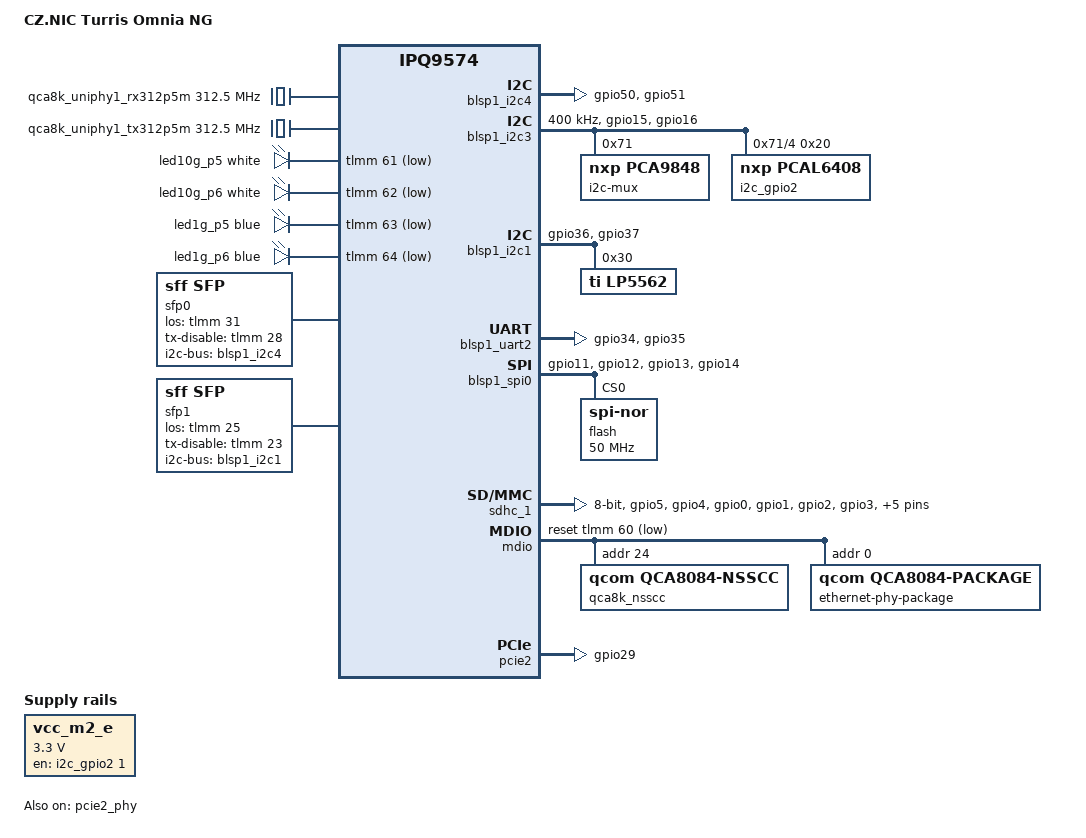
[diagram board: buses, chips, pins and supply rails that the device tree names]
// SPDX-License-Identifier: (GPL-2.0+ OR BSD-3-Clause)

/dts-v1/;

#include "ipq9574.dtsi"

#include <dt-bindings/clock/qcom,ipq-cmn-pll.h>
#include <dt-bindings/gpio/gpio.h>
#include <dt-bindings/leds/common.h>
#include <dt-bindings/clock/qcom,qca8k-nsscc.h>
#include <dt-bindings/net/qcom,qca808x.h>
#include <dt-bindings/reset/qcom,qca8k-nsscc.h>

/ {
	model = "CZ.NIC Turris Omnia NG";
	compatible = "cznic,turris-omnia-ng", "qcom,ipq9574";

	aliases {
		serial0 = &blsp1_uart2;
		ethernet0 = &wan;
		ethernet1 = &lan1;
		ethernet2 = &lan2;
		ethernet3 = &lan3;
		ethernet4 = &wan2;
		ethernet5 = &lan4;
	};

	chosen {
		stdout-path = "serial0:115200n8";
	};

	qca8k_uniphy1_rx312p5m: qca8k-uniphy1-rx312p5m {
		compatible = "fixed-clock";
		clock-frequency = <312500000>;
		#clock-cells = <0>;
	};

	qca8k_uniphy1_tx312p5m: qca8k-uniphy1-tx312p5m {
		compatible = "fixed-clock";
		clock-frequency = <312500000>;
		#clock-cells = <0>;
	};

	vcc_m2_e: regulator-3v3-m2-e {
		compatible = "regulator-fixed";
		regulator-name = "3V3-m2-e";
		regulator-min-microvolt = <3300000>;
		regulator-max-microvolt = <3300000>;
		gpios = <&i2c_gpio2 1 GPIO_ACTIVE_HIGH>;
		enable-active-high;
		regulator-always-on;
		startup-delay-us = <50000>;
	};

	leds {
		compatible = "gpio-leds";
		pinctrl-0 = <&sfp_leds>;
		pinctrl-names = "default";

		led-0 {
			color = <LED_COLOR_ID_WHITE>;
			label = "led10g_p5";
			gpios = <&tlmm 61 GPIO_ACTIVE_LOW>;
		};

		led-2 {
			color = <LED_COLOR_ID_WHITE>;
			label = "led10g_p6";
			gpios = <&tlmm 62 GPIO_ACTIVE_LOW>;
		};

		led-3 {
			color = <LED_COLOR_ID_BLUE>;
			label = "led1g_p5";
			gpios = <&tlmm 63 GPIO_ACTIVE_LOW>;
		};

		led-4 {
			color = <LED_COLOR_ID_BLUE>;
			label = "led1g_p6";
			gpios = <&tlmm 64 GPIO_ACTIVE_LOW>;
		};
	};

	sfp0: sfp-0 {
		compatible = "sff,sfp";
		pinctrl-0 = <&sfp_0_pins>;
		pinctrl-names = "default";
		i2c-bus = <&blsp1_i2c4>;
		los-gpios = <&tlmm 31 GPIO_ACTIVE_HIGH>;
		tx-disable-gpios = <&tlmm 28 GPIO_ACTIVE_HIGH>;
	};

	sfp1: sfp-1 {
		compatible = "sff,sfp";
		pinctrl-0 = <&sfp_1_pins>;
		pinctrl-names = "default";
		i2c-bus = <&blsp1_i2c1>;
		los-gpios = <&tlmm 25 GPIO_ACTIVE_HIGH>;
		tx-disable-gpios = <&tlmm 23 GPIO_ACTIVE_HIGH>;
	};
};

&blsp1_i2c4{
	pinctrl-0 = <&blsp4_i2c_pins>;
	pinctrl-names = "default";
	status = "okay";
};

&blsp1_i2c3 {
	clock-frequency = <400000>;
	pinctrl-0 = <&i2c_3_pins>;
	pinctrl-names = "default";
	status = "okay";

	i2c-mux@71 {
		compatible = "nxp,pca9848";
		reg = <0x71>;
		#address-cells = <1>;
		#size-cells = <0>;

		i2c@4 {
			reg = <0x4>;
			#address-cells = <1>;
			#size-cells = <0>;

			i2c_gpio2: gpio-controller@20 {
				compatible = "nxp,pcal6408";
				reg = <0x20>;
				gpio-controller;
				#gpio-cells = <2>;
				gpio-line-names = "EN_PWR_SFP", "EN_PWR_M2-E",
						  "EN_PWR_M2-B", "EN_PWR_M2-M",
						  "PG_SFP", "PG_M2-E",
						  "PG_M2-B", "PG_M2-M";
			};
		};
	};
};

&blsp1_i2c1 {
	pinctrl-0 = <&blsp1_i2c1_pins>;
	pinctrl-names = "default";
	status = "okay";

	lp5562@30 {
		#address-cells = <1>;
		#size-cells = <0>;
		compatible = "ti,lp5562";
		reg = <0x30>;
		clock-mode = /bits/8 <2>;

		led@0 {
			reg = <0>;
			chan-name = "red";
			led-cur = /bits/ 8 <0x20>;
			max-cur = /bits/ 8 <0x60>;
			color = <LED_COLOR_ID_RED>;
		};

		led@1 {
			reg = <1>;
			chan-name = "green";
			led-cur = /bits/ 8 <0x20>;
			max-cur = /bits/ 8 <0x60>;
			color = <LED_COLOR_ID_GREEN>;
		};

		led@2 {
			reg = <2>;
			chan-name = "blue";
			led-cur = /bits/ 8 <0x20>;
			max-cur = /bits/ 8 <0x60>;
			color = <LED_COLOR_ID_BLUE>;
		};

		led@3 {
			reg = <3>;
			chan-name = "white";
			led-cur = /bits/ 8 <0x20>;
			max-cur = /bits/ 8 <0x60>;
			color = <LED_COLOR_ID_WHITE>;
		};
	};
};

&blsp1_uart2 {
	pinctrl-0 = <&blsp1_uart2_pins>;
	pinctrl-names = "default";
	status = "okay";
};

&blsp1_spi0 {
	pinctrl-0 = <&spi_0_pins>;
	pinctrl-names = "default";
	status = "okay";

	flash@0 {
		compatible = "jedec,spi-nor";
		reg = <0>;
		spi-max-frequency = <50000000>;

		partitions {
			compatible = "qcom,smem-part";
		};
	};
};

&sdhc_1 {
	bus-width = <8>;
	max-frequency = <384000000>;
	mmc-ddr-1_8v;
	mmc-hs200-1_8v;
	mmc-hs400-1_8v;
	mmc-hs400-enhanced-strobe;
	pinctrl-0 = <&emmc_pins>;
	pinctrl-names = "default";
	status = "okay";
};

&qcom_ppe {
	ethernet-ports {
		#address-cells = <1>;
		#size-cells = <0>;

		wan: port@1 {
			reg = <1>;
			phy-mode = "10g-qxgmii";
			label = "wan";
			phy-handle = <&phy0>;
			pcs-handle = <&pcs0_ch0>;
			clocks = <&nsscc NSS_CC_PORT1_MAC_CLK>,
				 <&nsscc NSS_CC_PORT1_RX_CLK>,
				 <&nsscc NSS_CC_PORT1_TX_CLK>;
			clock-names = "mac",
				"rx",
				"tx";
			resets = <&nsscc PORT1_MAC_ARES>,
				 <&nsscc PORT1_RX_ARES>,
				 <&nsscc PORT1_TX_ARES>;
			reset-names = "mac",
				"rx",
				"tx";
		};
		lan1: port@2 {
			reg = <2>;
			phy-mode = "10g-qxgmii";
			label = "lan1";
			phy-handle = <&phy1>;
			pcs-handle = <&pcs0_ch1>;
			clocks = <&nsscc NSS_CC_PORT2_MAC_CLK>,
				 <&nsscc NSS_CC_PORT2_RX_CLK>,
				 <&nsscc NSS_CC_PORT2_TX_CLK>;
			clock-names = "mac",
				"rx",
				"tx";
			resets = <&nsscc PORT2_MAC_ARES>,
				 <&nsscc PORT2_RX_ARES>,
				 <&nsscc PORT2_TX_ARES>;
			reset-names = "mac",
				"rx",
				"tx";
		};
		lan2: port@3 {
			reg = <3>;
			phy-mode = "10g-qxgmii";
			label = "lan2";
			phy-handle = <&phy2>;
			pcs-handle = <&pcs0_ch2>;
			clocks = <&nsscc NSS_CC_PORT3_MAC_CLK>,
				 <&nsscc NSS_CC_PORT3_RX_CLK>,
				 <&nsscc NSS_CC_PORT3_TX_CLK>;
			clock-names = "mac",
				"rx",
				"tx";
			resets = <&nsscc PORT3_MAC_ARES>,
				 <&nsscc PORT3_RX_ARES>,
				 <&nsscc PORT3_TX_ARES>;
			reset-names = "mac",
				"rx",
				"tx";
		};
		lan3: port@4 {
			reg = <4>;
			phy-mode = "10g-qxgmii";
			label = "lan3";
			phy-handle = <&phy3>;
			pcs-handle = <&pcs0_ch3>;
			clocks = <&nsscc NSS_CC_PORT4_MAC_CLK>,
				 <&nsscc NSS_CC_PORT4_RX_CLK>,
				 <&nsscc NSS_CC_PORT4_TX_CLK>;
			clock-names = "mac",
				"rx",
				"tx";
			resets = <&nsscc PORT4_MAC_ARES>,
				 <&nsscc PORT4_RX_ARES>,
				 <&nsscc PORT4_TX_ARES>;
			reset-names = "mac",
				"rx",
				"tx";
		};

		wan2: port@5 {
			reg = <5>;
			phy-mode = "10gbase-r";
			managed = "in-band-status";
			label = "wan2";
			sfp = <&sfp0>;
			pcs-handle = <&pcs1_ch0>;
			local-mac-address = [00 00 00 00 00 00];
			clocks = <&nsscc NSS_CC_PORT5_MAC_CLK>,
				 <&nsscc NSS_CC_PORT5_RX_CLK>,
				 <&nsscc NSS_CC_PORT5_TX_CLK>;
			clock-names = "mac",
				"rx",
				"tx";
			resets = <&nsscc PORT5_MAC_ARES>,
				 <&nsscc PORT5_RX_ARES>,
				<&nsscc PORT5_TX_ARES>;
			reset-names = "mac",
				"rx",
				"tx";
		};

		lan4: port@6 {
			reg = <6>;
			phy-mode = "10gbase-r";
			managed = "in-band-status";
			label = "lan4";
			sfp = <&sfp1>;
			pcs-handle = <&pcs2_ch0>;
			local-mac-address = [00 00 00 00 00 00];
			clocks = <&nsscc NSS_CC_PORT6_MAC_CLK>,
				 <&nsscc NSS_CC_PORT6_RX_CLK>,
				 <&nsscc NSS_CC_PORT6_TX_CLK>;
			clock-names = "mac",
				"rx",
				"tx";
			resets = <&nsscc PORT6_MAC_ARES>,
				 <&nsscc PORT6_RX_ARES>,
				 <&nsscc PORT6_TX_ARES>;
			reset-names = "mac",
				"rx",
				"tx";
		};
	};
};

&mdio {
	status = "okay";
	pinctrl-0 = <&mdio_pins>;
	pinctrl-names = "default";
	reset-gpios = <&tlmm 60 GPIO_ACTIVE_LOW>;

	qca8k_nsscc: clock-controller@18 {
		compatible = "qcom,qca8084-nsscc";
			reg = <0x18>;
			clocks = <&cmn_pll ETH0_50MHZ_CLK>,
				<0>,
				<0>,
				<0>,
				<0>,
				<&qca8k_uniphy1_rx312p5m>,
				<&qca8k_uniphy1_tx312p5m>;
			#clock-cells = <1>;
			#reset-cells = <1>;
			#power-domain-cells = <1>;
	};

	ethernet-phy-package@0 {
		#address-cells = <1>;
		#size-cells = <0>;
		compatible = "qcom,qca8084-package";
		reg = <0>;
		clocks = <&qca8k_nsscc NSS_CC_APB_BRIDGE_CLK>,
			 <&qca8k_nsscc NSS_CC_AHB_CLK>,
			 <&qca8k_nsscc NSS_CC_SEC_CTRL_AHB_CLK>,
			 <&qca8k_nsscc NSS_CC_TLMM_CLK>,
			 <&qca8k_nsscc NSS_CC_TLMM_AHB_CLK>,
			 <&qca8k_nsscc NSS_CC_CNOC_AHB_CLK>,
			 <&qca8k_nsscc NSS_CC_MDIO_AHB_CLK>;
		clock-names = "apb_bridge",
			"ahb",
			"sec_ctrl_ahb",
			"tlmm",
			"tlmm_ahb",
			"cnoc_ahb",
			"mdio_ahb";
		resets = <&qca8k_nsscc NSS_CC_GEPHY_FULL_ARES>;
		qcom,phy-addr-fixup = <1 2 3 4 5 6 7>;

		qcom,package-mode = <QCA808X_PCS1_10G_QXGMII_PCS0_UNUNSED>;

		phy0: ethernet-phy@1 {
			compatible = "ethernet-phy-id004d.d180";
			reg = <1>;
			clocks = <&qca8k_nsscc NSS_CC_GEPHY0_SYS_CLK>;
			resets = <&qca8k_nsscc NSS_CC_GEPHY0_SYS_ARES>;
			qcom,xpcs-channel = <0>;
		};

		phy1: ethernet-phy@2 {
			compatible = "ethernet-phy-id004d.d180";
			reg = <2>;
			clocks = <&qca8k_nsscc NSS_CC_GEPHY1_SYS_CLK>;
			resets = <&qca8k_nsscc NSS_CC_GEPHY1_SYS_ARES>;
			qcom,xpcs-channel = <1>;
		};

		phy2: ethernet-phy@3 {
			compatible = "ethernet-phy-id004d.d180";
			reg = <3>;
			clocks = <&qca8k_nsscc NSS_CC_GEPHY2_SYS_CLK>;
			resets = <&qca8k_nsscc NSS_CC_GEPHY2_SYS_ARES>;
			qcom,xpcs-channel = <2>;
		};

		phy3: ethernet-phy@4 {
			compatible = "ethernet-phy-id004d.d180";
			reg = <4>;
			clocks = <&qca8k_nsscc NSS_CC_GEPHY3_SYS_CLK>;
			resets = <&qca8k_nsscc NSS_CC_GEPHY3_SYS_ARES>;
			qcom,xpcs-channel = <3>;
		};

		pcs-phy@6 {
			compatible = "qcom,qca8k-pcs-phy";
			reg = <6>;
			clocks = <&qca8k_nsscc NSS_CC_SRDS1_SYS_CLK>,
				 <&qca8k_uniphy1_tx312p5m>,
				 <&qca8k_uniphy1_rx312p5m>;
			clock-names = "pcs",
				"pcs_rx_root",
				"pcs_tx_root";
			resets = <&qca8k_nsscc NSS_CC_SRDS1_SYS_ARES>;
		};

		xpcs-phy@7 {
			compatible = "qcom,qca8k-xpcs-phy";
			reg = <7>;
			#address-cells = <1>;
			#size-cells = <0>;
			resets = <&qca8k_nsscc NSS_CC_XPCS_ARES>;

			channel@0 {
				reg = <0>;
				clocks = <&qca8k_nsscc NSS_CC_MAC1_SRDS1_CH0_XGMII_TX_CLK>,
					 <&qca8k_nsscc NSS_CC_MAC1_SRDS1_CH0_XGMII_RX_CLK>,
					 <&qca8k_nsscc NSS_CC_MAC1_SRDS1_CH0_TX_CLK>,
					 <&qca8k_nsscc NSS_CC_MAC1_SRDS1_CH0_RX_CLK>,
					 <&qca8k_nsscc NSS_CC_MAC1_GEPHY0_RX_CLK>,
					 <&qca8k_nsscc NSS_CC_MAC1_GEPHY0_TX_CLK>,
					 <&qca8k_nsscc NSS_CC_MAC1_RX_CLK_SRC>,
					 <&qca8k_nsscc NSS_CC_MAC1_TX_CLK_SRC>;
				clock-names = "xgmii_rx",
					"xgmii_tx",
					"xpcs_rx",
					"xpcs_tx",
					"port_rx",
					"port_tx",
					"rx_src",
					"tx_src";
				resets = <&qca8k_nsscc NSS_CC_MAC1_SRDS1_CH0_XGMII_TX_ARES>,
					 <&qca8k_nsscc NSS_CC_MAC1_SRDS1_CH0_XGMII_RX_ARES>,
					 <&qca8k_nsscc NSS_CC_MAC1_SRDS1_CH0_TX_ARES>,
					 <&qca8k_nsscc NSS_CC_MAC1_SRDS1_CH0_RX_ARES>,
					 <&qca8k_nsscc NSS_CC_MAC1_GEPHY0_RX_ARES>,
					 <&qca8k_nsscc NSS_CC_MAC1_GEPHY0_TX_ARES>;
				reset-names = "xgmii_rx",
					"xgmii_tx",
					"xpcs_rx",
					"xpcs_tx",
					"port_rx",
					"port_tx";
			};

			channel@1 {
				reg = <1>;
				clocks = <&qca8k_nsscc NSS_CC_MAC2_SRDS1_CH1_XGMII_TX_CLK>,
					 <&qca8k_nsscc NSS_CC_MAC2_SRDS1_CH1_XGMII_RX_CLK>,
					 <&qca8k_nsscc NSS_CC_MAC2_SRDS1_CH1_TX_CLK>,
					 <&qca8k_nsscc NSS_CC_MAC2_SRDS1_CH1_RX_CLK>,
					 <&qca8k_nsscc NSS_CC_MAC2_GEPHY1_RX_CLK>,
					 <&qca8k_nsscc NSS_CC_MAC2_GEPHY1_TX_CLK>,
					 <&qca8k_nsscc NSS_CC_MAC2_RX_CLK_SRC>,
					 <&qca8k_nsscc NSS_CC_MAC2_TX_CLK_SRC>;
				clock-names = "xgmii_rx",
					"xgmii_tx",
					"xpcs_rx",
					"xpcs_tx",
					"port_rx",
					"port_tx",
					"rx_src",
					"tx_src";
				resets = <&qca8k_nsscc NSS_CC_MAC2_SRDS1_CH1_XGMII_TX_ARES>,
					 <&qca8k_nsscc NSS_CC_MAC2_SRDS1_CH1_XGMII_RX_ARES>,
					 <&qca8k_nsscc NSS_CC_MAC2_SRDS1_CH1_TX_ARES>,
					 <&qca8k_nsscc NSS_CC_MAC2_SRDS1_CH1_RX_ARES>,
					 <&qca8k_nsscc NSS_CC_MAC2_GEPHY1_RX_ARES>,
					 <&qca8k_nsscc NSS_CC_MAC2_GEPHY1_TX_ARES>;
				reset-names = "xgmii_rx",
					"xgmii_tx",
					"xpcs_rx",
					"xpcs_tx",
					"port_rx",
					"port_tx";
			};

			channel@2 {
				reg = <2>;
				clocks = <&qca8k_nsscc NSS_CC_MAC3_SRDS1_CH2_XGMII_TX_CLK>,
					 <&qca8k_nsscc NSS_CC_MAC3_SRDS1_CH2_XGMII_RX_CLK>,
					 <&qca8k_nsscc NSS_CC_MAC3_SRDS1_CH2_TX_CLK>,
					 <&qca8k_nsscc NSS_CC_MAC3_SRDS1_CH2_RX_CLK>,
					 <&qca8k_nsscc NSS_CC_MAC3_GEPHY2_RX_CLK>,
					 <&qca8k_nsscc NSS_CC_MAC3_GEPHY2_TX_CLK>,
					 <&qca8k_nsscc NSS_CC_MAC3_RX_CLK_SRC>,
					 <&qca8k_nsscc NSS_CC_MAC3_TX_CLK_SRC>;
				clock-names = "xgmii_rx",
					"xgmii_tx",
					"xpcs_rx",
					"xpcs_tx",
					"port_rx",
					"port_tx",
					"rx_src",
					"tx_src";
				resets = <&qca8k_nsscc NSS_CC_MAC3_SRDS1_CH2_XGMII_TX_ARES>,
					 <&qca8k_nsscc NSS_CC_MAC3_SRDS1_CH2_XGMII_RX_ARES>,
					 <&qca8k_nsscc NSS_CC_MAC3_SRDS1_CH2_TX_ARES>,
					 <&qca8k_nsscc NSS_CC_MAC3_SRDS1_CH2_RX_ARES>,
					 <&qca8k_nsscc NSS_CC_MAC3_GEPHY2_RX_ARES>,
					 <&qca8k_nsscc NSS_CC_MAC3_GEPHY2_TX_ARES>;
				reset-names = "xgmii_rx",
					"xgmii_tx",
					"xpcs_rx",
					"xpcs_tx",
					"port_rx",
					"port_tx";
			};

			channel@3 {
				reg = <3>;
				clocks = <&qca8k_nsscc NSS_CC_MAC4_SRDS1_CH3_XGMII_TX_CLK>,
					 <&qca8k_nsscc NSS_CC_MAC4_SRDS1_CH3_XGMII_RX_CLK>,
					 <&qca8k_nsscc NSS_CC_MAC4_SRDS1_CH3_TX_CLK>,
					 <&qca8k_nsscc NSS_CC_MAC4_SRDS1_CH3_RX_CLK>,
					 <&qca8k_nsscc NSS_CC_MAC4_GEPHY3_RX_CLK>,
					 <&qca8k_nsscc NSS_CC_MAC4_GEPHY3_TX_CLK>,
					 <&qca8k_nsscc NSS_CC_MAC4_RX_CLK_SRC>,
					 <&qca8k_nsscc NSS_CC_MAC4_TX_CLK_SRC>;
				clock-names = "xgmii_rx",
					"xgmii_tx",
					"xpcs_rx",
					"xpcs_tx",
					"port_rx",
					"port_tx",
					"rx_src",
					"tx_src";
				resets = <&qca8k_nsscc NSS_CC_MAC4_SRDS1_CH3_XGMII_TX_ARES>,
					 <&qca8k_nsscc NSS_CC_MAC4_SRDS1_CH3_XGMII_RX_ARES>,
					 <&qca8k_nsscc NSS_CC_MAC4_SRDS1_CH3_TX_ARES>,
					 <&qca8k_nsscc NSS_CC_MAC4_SRDS1_CH3_RX_ARES>,
					 <&qca8k_nsscc NSS_CC_MAC4_GEPHY3_RX_ARES>,
					 <&qca8k_nsscc NSS_CC_MAC4_GEPHY3_TX_ARES>;
				reset-names = "xgmii_rx",
					"xgmii_tx",
					"xpcs_rx",
					"xpcs_tx",
					"port_rx",
					"port_tx";
			};
		};
	};
};

&pcie2 {
	pinctrl-0 = <&pcie2_default>;
	pinctrl-names = "default";

	perst-gpios = <&tlmm 29 GPIO_ACTIVE_LOW>;
	vddpe-3v3-supply = <&vcc_m2_e>;
	status = "okay";
};

&pcie2_phy {
	status = "okay";
};

&rpm_requests {
	regulators {
		compatible = "qcom,rpm-mp5496-regulators";

		ipq9574_s1: s1 {
			regulator-min-microvolt = <725000>;
			regulator-max-microvolt = <1075000>;
		};

		mp5496_l2: l2 {
			regulator-min-microvolt = <850000>;
			regulator-max-microvolt = <850000>;
			regulator-always-on;
			regulator-boot-on;
		};
	};
};

&sleep_clk {
	clock-frequency = <32000>;
};

&tlmm {
	blsp1_i2c1_pins: blsp1-i2c1-pins {
		pins = "gpio36", "gpio37";
		function = "blsp1_i2c";
		drive-strength = <8>;
		bias-disable;
	};

	i2c_3_pins: i2c-3-pins {
		pins = "gpio15", "gpio16";
		function = "blsp3_i2c";
		drive-strength = <8>;
		bias-disable;
	};

	blsp4_i2c_pins: blsp4-i2c-pins {
		pins = "gpio50", "gpio51";
		function = "blsp4_i2c";
		drive-strength = <8>;
		bias-disable;
	};

	blsp1_uart2_pins: blsp1_uart2_pinmux {
		pins = "gpio34", "gpio35";
		function = "blsp2_uart";
		drive-strength = <8>;
		bias-disable;
	};

	spi_0_pins: spi-0-state {
		pins = "gpio11", "gpio12", "gpio13", "gpio14";
		function = "blsp0_spi";
		drive-strength = <8>;
		bias-disable;
	};

	pcie2_default: pcie2-default-state {
		pins = "gpio29";
		function = "gpio";
		drive-strength = <8>;
		bias-pull-down;
		output-low;
	};

	emmc_pins: emmc_pins {
		clk-pins {
			pins = "gpio5";
			function = "sdc_clk";
			drive-strength = <8>;
			bias-disable;
		};
		cmd-pins {
			pins = "gpio4";
			function = "sdc_cmd";
			drive-strength = <8>;
			bias-pull-up;
		};
		data-pins {
			pins = "gpio0", "gpio1", "gpio2",
				"gpio3", "gpio6", "gpio7",
				"gpio8", "gpio9";
			function = "sdc_data";
			drive-strength = <8>;
			bias-pull-up;
		};
		rclk-pins {
			pins = "gpio10";
			function = "sdc_rclk";
			drive-strength = <8>;
			bias-pull-down;
		};
	};

	sfp_leds: sfp_leds_pinmux {
		led_en {
			pins = "gpio43";
			function = "gpio";
			drive-strength = <2>;
			bias-pull-down;
			output-low;
		};

		sfp_10g_p5 {
			pins = "gpio61";
			function = "gpio";
			drive-strength = <8>;
			bias-pull-up;
		};

		sfp_10g_p6 {
			pins = "gpio62";
			function = "gpio";
			drive-strength = <8>;
			bias-pull-up;
		};

		sfp_1g_p5 {
			pins = "gpio63";
			function = "gpio";
			drive-strength = <8>;
			bias-pull-up;
		};

		sfp_1g_p6 {
			pins = "gpio64";
			function = "gpio";
			drive-strength = <8>;
			bias-pull-up;
		};
	};

	sfp_0_pins: sfp_0_pinmux {
		tx_disable_p5 {
			pins = "gpio28";
			function = "gpio";
			drive-strength = <8>;
			bias-pull-down;
		};

		los_gpio_p5 {
			pins = "gpio31";
			function = "gpio";
			drive-strength = <8>;
			bias-disable;
		};
	};

	sfp_1_pins: sfp_1_pinmux {
		tx_disable_p6 {
			pins = "gpio23";
			function = "gpio";
			drive-strength = <8>;
			bias-pull-down;
		};

		los_gpio_p6 {
			pins = "gpio25";
			function = "gpio";
			drive-strength = <8>;
			bias-disable;
		};
	};
};

/*
 * The bootstrap pins for the board select the XO clock frequency,
 * which automatically enables the right dividers to ensure the
 * reference clock output from WiFi is 48 MHZ.
 */
&ref_48mhz_clk {
	clock-div = <1>;
	clock-mult = <1>;
};

/*
 * The frequency of xo_board_clk is fixed to 24 MHZ, which is routed
 * from WiFi output clock 48 MHZ divided by 2.
 */
&xo_board_clk {
	clock-div = <2>;
	clock-mult = <1>;
};

&xo_clk {
	clock-frequency = <48000000>;
};
